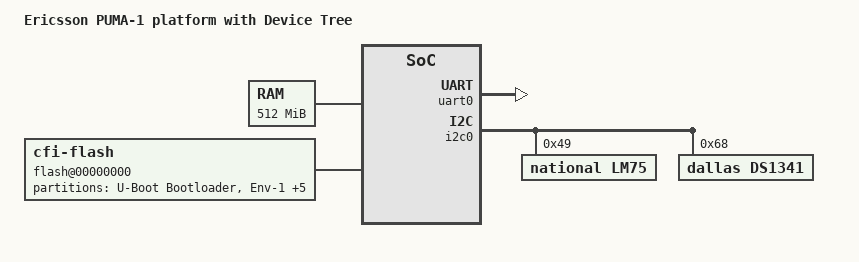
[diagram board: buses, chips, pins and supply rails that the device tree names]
/*
 * Copyright (C) 2014 - 2019 MontaVista Software, LLC.
 * Created by Niyas Ahamed Mydeen <nmydeen@mvista.com>
 * for MontaVista Software, LLC.
 *
 * This program is free software; you can redistribute  it and/or modify it
 * under  the terms of  the GNU General  Public License as published by the
 * Free Software Foundation;  either version 2 of the  License, or (at your
 * option) any later version.
 */
/dts-v1/;
/include/ "skeleton.dtsi"
/ {
	model = "Ericsson PUMA-1 platform with Device Tree";
	compatible = "ericsson,puma1";

	memory {
		#address-cells = <1>;
		#size-cells = <1>;
		reg = <0x40000000 0x20000000>;
	};

	chosen {
		bootargs = "console=ttyS0,115200n8";
		linux,stdout-path = "/soc/serial@0x69000000";
        };
	soc {
		compatible =  "ericsson,puma1","simple-bus";
		#address-cells = <1>;
		#size-cells = <1>;
		interrupt-parent = <&intc>;
		ranges;

		arm {
		#address-cells = <1>;
		#size-cells = <1>;
		ranges;
		intc: interrupt-controller {
			compatible = "ti,cp-intc";
			interrupt-controller;
			#interrupt-cells = <1>;
			ti,intc-size = <56>;
			reg = <0x68000000 0x2000>;
		};
		};

		timer@0x65000000 {
			compatible = "ericsson,puma1-timer";
			reg = <0x65000000 0x1000>,
				<0x66000000 0x1000>;
			interrupt-parent = <&intc>;
			interrupts = <14>, <15>, <16>, <17>;
		};

		wdt@67000000 {
			compatible = "puma1,wdt";
			reg = <0x67000000 0x400>;
		};
		uart0: serial@0x69000000 {
			compatible = "ns16550a";
			reg = <0x69000000 0x2000>;
			clock-frequency = <100000000>;
			reg-shift = <2>;
			interrupt-parent = <&intc>;
			interrupts = <18>;
		};

		i2c0: i2c_puma@6a000000 {
			compatible = "puma,i2c_PUMA";
			#address-cells = <1>;
			#size-cells = <0>;
			reg = <0x6a000000 0x40>;
			bus-frequency = <150000>;
			bus-delay = <20>;
			interrupt-parent = <&intc>;
			interrupts = <19>;

			lm75: lm75@49 {
				compatible = "national,lm75";
				reg = <0x49>;
			};
			ds1341: ds1341@68 {
				compatible = "dallas,ds1341";
				reg = <0x68>;
			};
		};

		flash@00000000 {
			compatible = "cfi-flash";
			#address-cells = <1>;
			#size-cells = <1>;
			linux,mtd-name = "physmap-flash.0";
			reg = <0x00000000 0x01000000>;
			bank-width = <2>;
			partition@0 {
				/* This location must not be altered  */
				/* 768KB for boot-loader  */
				label = "U-Boot Bootloader";
				reg = <0x0 0x000c0000>;
			};
			partition@c0000 {
				/* 128KB for Env-1 */
				label = "Env-1";
				reg = <0x000c0000 0x00020000>;
			};
			partition@e0000 {
				/* 128KB for Env-2 */
				label = "Env-2";
				reg = <0x000e0000 0x00020000>;
			};
			partition@100000 {
				/* 5MB for Kernel-1 */
				label = "Kernel-1";
				reg = <0x00100000 0x00500000>;
			};
			partition@600000 {
				/* 5MB for Kernel-2 */
				label = "Kernel-2";
				reg = <0x00600000 0x00500000>;
			};
			partition@b00000 {
				/* 128KB for start info */
				label = "Start Info";
				reg = <0x00b00000 0x00020000>;
			};
			partition@b20000 {
				/* 2MB for halog */
				label = "halog";
				reg = <0x00b20000 0x00200000>;
			};
		};

		ethernet@63000000 {
			compatible = "puma1,ti-gpmac-ethernet","ericsson,puma1","simple-bus";
			device_type = "network";
			reg = <0x63000000 0x302000>;
			interrupt-parent = <&intc>;
			interrupts = <54>, <55>, <2>, <1> ;
			puma1,ctrl_reg_offset = <0x0100000>;
			puma1,ctrl_mod_reg_offset = <0x0000000>;
			puma1,mdio_reg_offset = <0x0200000>;
			puma1,ctrl_ram_size =  <0x00002000>;
			puma1,ctrl_ram_offset = <0x0300000>;
			puma1,rmii_en = <1>;
			puma1,version = <1>;
			puma1,phy_mask = <0>;
		};
	};
};
